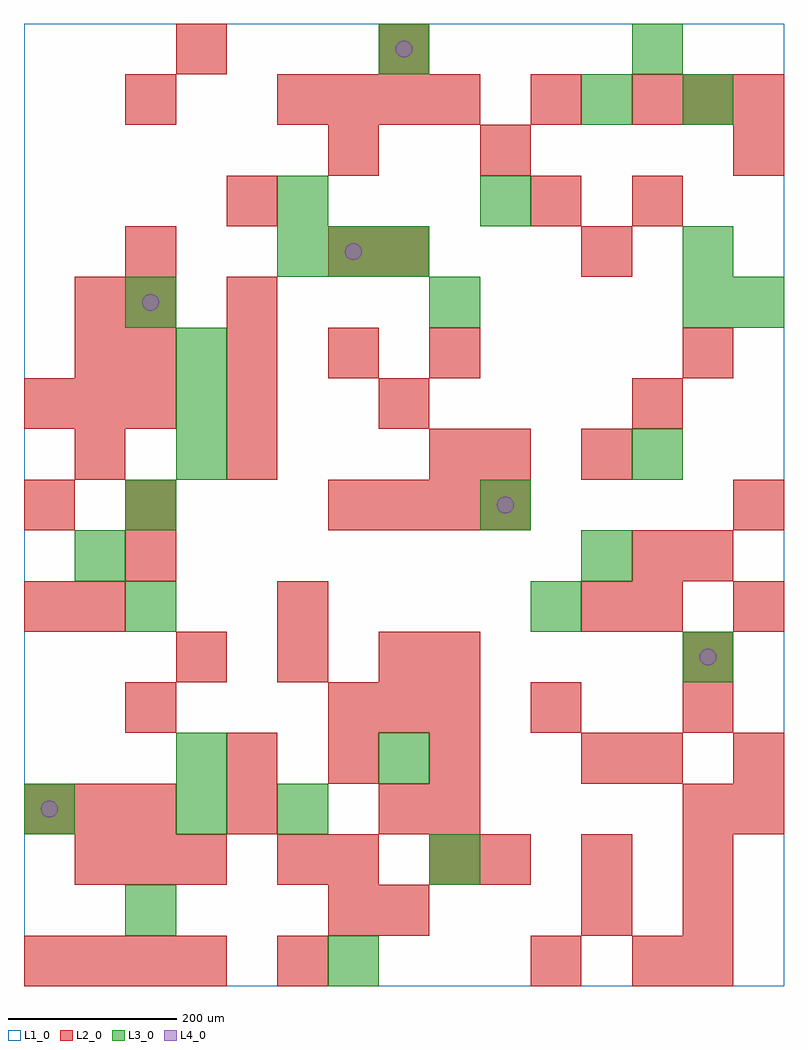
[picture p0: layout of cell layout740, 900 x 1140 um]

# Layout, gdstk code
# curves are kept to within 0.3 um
import gdstk
lib = gdstk.Library(unit=1e-6, precision=1e-09)
def R(c, l, rs):  # rectangles x0, y0, x1, y1
    for r in rs: c.add(gdstk.rectangle(r[:2], r[2:], *l))
def A(c, l, x, y, w, h, nx, ny, dx, dy):  # array of equal rectangles
    R(c, l, [(x+i*dx, y+j*dy, x+i*dx+w, y+j*dy+h) for i in range(nx) for j in range(ny)])
def P(c, l, *ps):  # polygons
    for p in ps: c.add(gdstk.Polygon(p, *l))
L1_0 = (1, 0)
L2_0 = (2, 0)
L3_0 = (3, 0)
L4_0 = (4, 0)

layout740 = lib.new_cell('layout740')
R(layout740, L1_0, [(0,0,900,1140)])
A(layout740, L2_0, 0, 0, 60, 60, 4, 1, 60, 0)
A(layout740, L2_0, 660, 60, 60, 60, 1, 4, 0, 180)
A(layout740, L2_0, 780, 60, 60, 60, 1, 3, 0, 120)
A(layout740, L2_0, 60, 120, 60, 60, 3, 1, 60, 0)
A(layout740, L2_0, 540, 120, 60, 60, 3, 1, 120, 0)
A(layout740, L2_0, 0, 180, 60, 60, 3, 2, 60, 480)
A(layout740, L2_0, 240, 240, 60, 60, 3, 1, 120, 0)
A(layout740, L2_0, 360, 300, 60, 60, 3, 1, 60, 0)
A(layout740, L2_0, 180, 360, 60, 60, 3, 1, 120, 0)
A(layout740, L2_0, 360, 540, 60, 60, 4, 1, 60, 0)
A(layout740, L2_0, 240, 660, 60, 60, 1, 3, 0, 120)
A(layout740, L2_0, 120, 720, 60, 60, 4, 1, 120, 0)
A(layout740, L2_0, 300, 1020, 60, 60, 4, 1, 60, 0)
A(layout740, L2_0, 720, 1020, 60, 60, 3, 1, 60, 0)
R(layout740, L2_0, [(300,0,360,60), (600,0,660,60), (720,0,780,60), (780,0,840,60), (360,60,420,120), (420,60,480,120), (300,120,360,180), (360,120,420,180), (480,120,540,180), (240,180,300,240), (420,180,480,240), (480,180,540,240), (840,180,900,240), (720,240,780,300), (840,240,900,300), (120,300,180,360), (600,300,660,360), (480,360,540,420), (780,360,840,420), (0,420,60,480), (60,420,120,480), (300,420,360,480), (720,420,780,480), (840,420,900,480), (120,480,180,540), (720,480,780,540), (780,480,840,540), (0,540,60,600), (120,540,180,600), (840,540,900,600), (60,600,120,660), (240,600,300,660), (480,600,540,660), (540,600,600,660), (420,660,480,720), (720,660,780,720), (60,720,120,780), (780,720,840,780), (60,780,120,840), (120,780,180,840), (120,840,180,900), (360,840,420,900), (420,840,480,900), (660,840,720,900), (600,900,660,960), (720,900,780,960), (360,960,420,1020), (540,960,600,1020), (840,960,900,1020), (120,1020,180,1080), (600,1020,660,1080), (180,1080,240,1140), (420,1080,480,1140)])
A(layout740, L3_0, 180, 600, 60, 60, 1, 3, 0, 60)
A(layout740, L3_0, 300, 840, 60, 60, 3, 1, 60, 0)
R(layout740, L3_0, [(360,0,420,60), (120,60,180,120), (480,120,540,180), (0,180,60,240), (180,180,240,240), (300,180,360,240), (180,240,240,300), (420,240,480,300), (780,360,840,420), (120,420,180,480), (600,420,660,480), (60,480,120,540), (660,480,720,540), (120,540,180,600), (540,540,600,600), (720,600,780,660), (120,780,180,840), (480,780,540,840), (780,780,840,840), (840,780,900,840), (780,840,840,900), (300,900,360,960), (540,900,600,960), (660,1020,720,1080), (780,1020,840,1080), (420,1080,480,1140), (720,1080,780,1140)])
P(layout740, L4_0, [(40,210),(39.239,213.827),(37.071,217.071),(33.827,219.239),(30,220),(26.173,219.239),(22.929,217.071),(20.761,213.827),(20,210),(20.761,206.173),(22.929,202.929),(26.173,200.761),(30,200),(33.827,200.761),(37.071,202.929),(39.239,206.173)],
  [(160,810),(159.239,813.827),(157.071,817.071),(153.827,819.239),(150,820),(146.173,819.239),(142.929,817.071),(140.761,813.827),(140,810),(140.761,806.173),(142.929,802.929),(146.173,800.761),(150,800),(153.827,800.761),(157.071,802.929),(159.239,806.173)],
  [(400,870),(399.239,873.827),(397.071,877.071),(393.827,879.239),(390,880),(386.173,879.239),(382.929,877.071),(380.761,873.827),(380,870),(380.761,866.173),(382.929,862.929),(386.173,860.761),(390,860),(393.827,860.761),(397.071,862.929),(399.239,866.173)],
  [(460,1110),(459.239,1113.827),(457.071,1117.071),(453.827,1119.239),(450,1120),(446.173,1119.239),(442.929,1117.071),(440.761,1113.827),(440,1110),(440.761,1106.173),(442.929,1102.929),(446.173,1100.761),(450,1100),(453.827,1100.761),(457.071,1102.929),(459.239,1106.173)],
  [(580,570),(579.239,573.827),(577.071,577.071),(573.827,579.239),(570,580),(566.173,579.239),(562.929,577.071),(560.761,573.827),(560,570),(560.761,566.173),(562.929,562.929),(566.173,560.761),(570,560),(573.827,560.761),(577.071,562.929),(579.239,566.173)],
  [(820,390),(819.239,393.827),(817.071,397.071),(813.827,399.239),(810,400),(806.173,399.239),(802.929,397.071),(800.761,393.827),(800,390),(800.761,386.173),(802.929,382.929),(806.173,380.761),(810,380),(813.827,380.761),(817.071,382.929),(819.239,386.173)])

lib.write_gds('layout740.gds')
